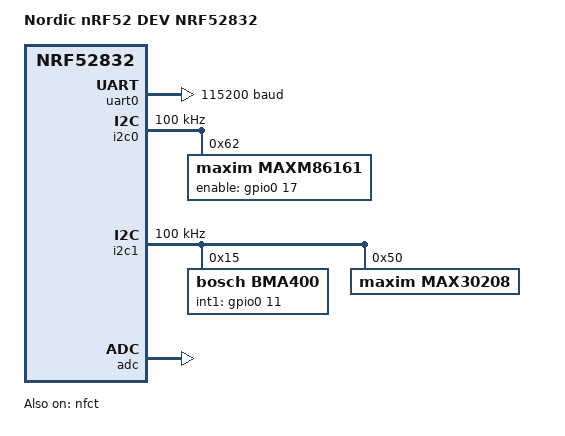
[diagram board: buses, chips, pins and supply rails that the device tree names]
/*
 * Copyright (c) 2017 Shawn Nock <shawn@monadnock.ca>
 * Copyright (c) 2017 Linaro Limited
 *
 * SPDX-License-Identifier: Apache-2.0
 */

/dts-v1/;
#include <nordic/nrf52832_qfaa.dtsi>
#include "nrf52_dev_nrf52832-pinctrl.dtsi"

/ {
	model = "Nordic nRF52 DEV NRF52832";
	compatible = "nordic,nrf52-dk-nrf52832";

	chosen {
		zephyr,console = &uart0;
		zephyr,sram = &sram0;
		zephyr,flash = &flash0;
		zephyr,code-partition = &slot0_partition;
	};

	aliases {
		i2c0 = &i2c0;
		i2c1 = &i2c1;
	};

	vbatt {
		io-channels = <&adc 0>;
		io-channel-names = "VBATT";
		zephyr,gain = "ADC_GAIN_1_6";
		zephyr,reference = "ADC_REF_INTERNAL";
		zephyr,acquisition-time = <ADC_ACQ_TIME_DEFAULT>;
		zephyr,input-positive = <NRF_SAADC_VDD>;
	};
};

&reg {
	regulator-initial-mode = <NRF5X_REG_MODE_DCDC>;
};

&uicr {
	gpio-as-nreset;
};

&nfct {
	status = "okay";
};

&gpiote {
	status = "okay";
};

&gpio0 {
	status = "okay";
};

&uart0 {
	compatible = "nordic,nrf-uarte";
	status = "okay";
	current-speed = <115200>;
	pinctrl-0 = <&uart0_default>;
	pinctrl-1 = <&uart0_sleep>;
	pinctrl-names = "default", "sleep";
};

&i2c0 {
	compatible = "nordic,nrf-twi";
	status = "okay";
	clock-frequency = <I2C_BITRATE_STANDARD>;
	pinctrl-0 = <&i2c0_default>;
	pinctrl-1 = <&i2c0_sleep>;
	pinctrl-names = "default", "sleep";

	/* I2C sensors */
	maxm86161: maxm86161@62 {
		compatible = "maxim,maxm86161";
		reg = <0x62>;
		label = "MAXM86161";
		status = "okay";
		enable-gpios = <&gpio0 17 GPIO_ACTIVE_HIGH>;
	};
};

&i2c1 {
	compatible = "nordic,nrf-twi";
	status = "okay";
	clock-frequency = <I2C_BITRATE_STANDARD>;
	pinctrl-0 = <&i2c1_default>;
	pinctrl-1 = <&i2c1_sleep>;
	pinctrl-names = "default", "sleep";

	/* I2C sensors on separate bus */
	bma400: bma400@15 {
        compatible = "bosch,bma400";
        reg = <0x15>;
        label = "BMA400";
        status = "okay";

        /* BMA400 INT1 -> nRF52 P0.11 (example) */
        int1-gpios = <&gpio0 11 GPIO_ACTIVE_HIGH>;
    };

	max30208: max30208@50 {
		compatible = "maxim,max30208";
		reg = <0x50>;
		label = "MAX30208";
		status = "okay";
	};
};

&adc {
	status = "okay";
};

&flash0 {
	partitions {
		compatible = "fixed-partitions";
		#address-cells = <1>;
		#size-cells = <1>;

		boot_partition: partition@0 {
			label = "mcuboot";
			reg = <0x00000000 0xc000>;
		};

		slot0_partition: partition@c000 {
			label = "image-0";
			reg = <0x0000C000 0x37000>;
		};

		slot1_partition: partition@43000 {
			label = "image-1";
			reg = <0x00043000 0x37000>;
		};

		storage_partition: partition@7a000 {
			label = "storage";
			reg = <0x0007a000 0x00006000>;
		};
	};
};
